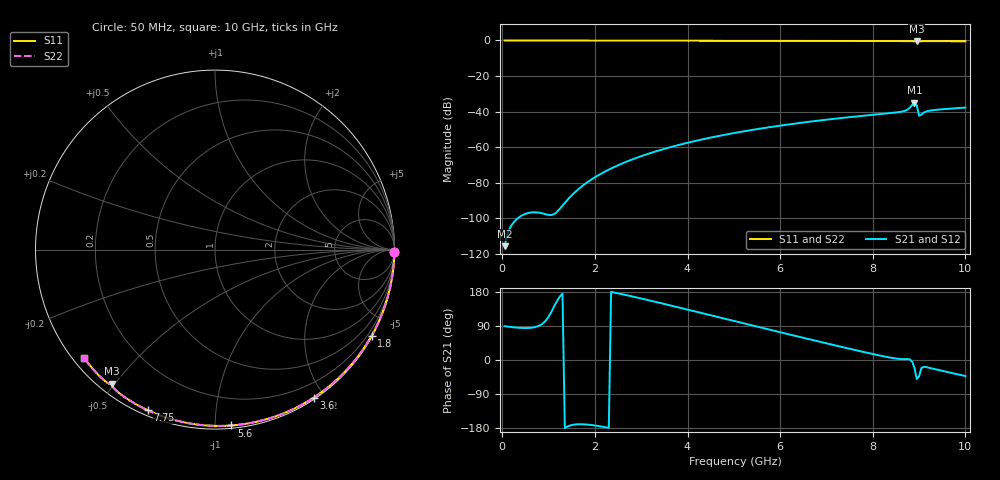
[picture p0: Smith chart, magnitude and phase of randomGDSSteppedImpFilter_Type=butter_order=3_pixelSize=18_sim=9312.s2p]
! freq	dB(S11)	phase(S11)	dB(S12)	phase(S12)
!  dB(S21)	phase(S21)	dB(S22)	phase(S22)
!S-par simulation data
#  GHz  S  DB  R 50
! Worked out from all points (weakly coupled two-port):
!   200 points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, 50 MHz to 10 GHz, reference 50 ohm
!   highest |S21| = -34.97 dB at 8.9 GHz (marker M1); lowest = -115.8 dB at 50 MHz (marker M2)
!   lowest |S11| = -0.5 dB at 8.95 GHz (marker M3), VSWR 33.18, Z = 1.87 - j24.6 ohm
!   |S11| at or under -10 dB: nowhere
!   |S22| runs from -0.5 to 0.0 dB; largest |S21 - S12| = 0
!   S11 on the Smith chart (normalised r, x): 50 MHz: open; 1.8 GHz: 0.03, -3.89; 3.6 GHz: 0.02, -1.87; 5.6 GHz: 0.02, -1.10; 7.75 GHz: 0.02, -0.67; 10 GHz: 0.03, -0.36
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0.05  -0.00 -0.8  -115.81 89.2  -115.81 89.2  -0.00 -0.8
0.9  -0.02 -14.6  -97.56 99.0  -97.56 99.0  -0.02 -14.6
1.75  -0.04 -28.1  -81.48 -169.7  -81.48 -169.7  -0.04 -28.1
1.8  -0.04 -28.9  -80.50 -170.1  -80.50 -170.1  -0.04 -28.9
2.25  -0.05 -35.9  -73.36 -178.0  -73.36 -178.0  -0.05 -35.9
2.55  -0.05 -40.5  -69.67 174.6  -69.67 174.6  -0.05 -40.6
3.4  -0.07 -53.4  -61.78 150.8  -61.78 150.8  -0.07 -53.4
3.6  -0.08 -56.3  -60.29 144.9  -60.29 144.9  -0.08 -56.4
4.3  -0.09 -66.5  -55.80 124.0  -55.80 124.0  -0.09 -66.6
5.05  -0.12 -77.1  -51.91 101.6  -51.91 101.6  -0.12 -77.2
5.6  -0.14 -84.7  -49.51 85.1  -49.51 85.1  -0.14 -84.8
6.7  -0.19 -99.3  -45.53 52.7  -45.53 52.7  -0.19 -99.4
7.75  -0.26 -112.7  -42.49 22.6  -42.49 22.6  -0.26 -112.8
8.35  -0.31 -120.3  -40.97 6.9  -40.97 6.9  -0.31 -120.4
8.7  -0.36 -124.8  -39.56 2.3  -39.56 2.3  -0.36 -125.0
8.8  -0.39 -126.2  -37.90 1.6  -37.90 1.6  -0.40 -126.3
8.9  -0.47 -127.3  -34.97 -20.8  -34.97 -20.8  -0.48 -127.5
8.95  -0.52 -127.5  -36.58 -50.1  -36.58 -50.1  -0.53 -127.6
9  -0.47 -127.6  -42.41 -43.3  -42.41 -43.3  -0.47 -127.7
9.15  -0.40 -129.7  -40.03 -18.7  -40.03 -18.7  -0.40 -129.8
9.25  -0.40 -131.0  -39.44 -21.5  -39.44 -21.5  -0.40 -131.1
10  -0.47 -140.4  -37.78 -42.3  -37.78 -42.3  -0.47 -140.6
